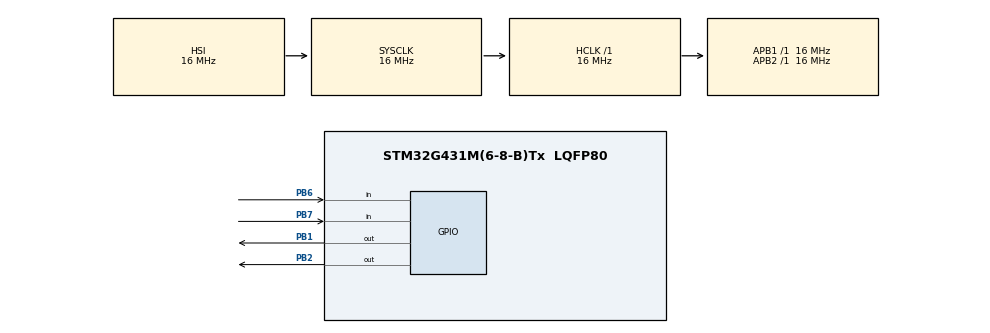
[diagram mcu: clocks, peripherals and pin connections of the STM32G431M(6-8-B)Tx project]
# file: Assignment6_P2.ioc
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Mcu.Family=STM32G4
Mcu.Name=STM32G431M(6-8-B)Tx
Mcu.Package=LQFP80
NVIC.PriorityGroup=NVIC_PRIORITYGROUP_4
PA13.Mode=Serial_Wire
PA13.Signal=SYS_JTMS-SWDIO
PA14.Mode=Serial_Wire
PA14.Signal=SYS_JTCK-SWCLK
PB1.PinState=GPIO_PIN_SET
PB1.Signal=GPIO_Output
PB2.PinState=GPIO_PIN_SET
PB2.Signal=GPIO_Output
PB6.GPIO_PuPd=GPIO_PULLUP
PB6.Signal=GPIO_Input
PB7.GPIO_Mode=GPIO_MODE_INPUT
PB7.GPIO_PuPd=GPIO_PULLUP
PB7.Signal=GPIO_Input
ProjectManager.HeapSize=0x200
ProjectManager.StackSize=0x400
ProjectManager.TargetToolchain=STM32CubeIDE
RCC.AHBFreq_Value=16000000
RCC.APB1Freq_Value=16000000
RCC.APB1TimFreq_Value=16000000
RCC.APB2Freq_Value=16000000
RCC.APB2TimFreq_Value=16000000
RCC.CortexFreq_Value=16000000
RCC.EXTERNAL_CLOCK_VALUE=12288000
RCC.HCLKFreq_Value=16000000
RCC.HSE_VALUE=8000000
RCC.HSI48_VALUE=48000000
RCC.HSI_VALUE=16000000
RCC.LSE_VALUE=32768
RCC.SYSCLKFreq_VALUE=16000000
RCC.USBFreq_Value=64000000
RCC.VCOOutputFreq_Value=128000000
VP_SYS_VS_DBSignals.Mode=DisableDeadBatterySignals
board=custom

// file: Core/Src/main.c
/* USER CODE BEGIN Header */
/**
  ******************************************************************************
  * @file           : main.c
  * @brief          : Main program body
  ******************************************************************************
  * @attention
  *
  * Copyright (c) 2025 STMicroelectronics.
  * All rights reserved.
  *
  * This software is licensed under terms that can be found in the LICENSE file
  * in the root directory of this software component.
  * If no LICENSE file comes with this software, it is provided AS-IS.
  *
  ******************************************************************************
  */
/* USER CODE END Header */
#include "main.h"

void SystemClock_Config(void);
static void MX_GPIO_Init(void);

int main(void)
{

  /* MCU Configuration--------------------------------------------------------*/

  /* Reset of all peripherals, Initializes the Flash interface and the Systick. */
  HAL_Init();

  /* Configure the system clock */
  SystemClock_Config();

  /* Initialize all configured peripherals */
  MX_GPIO_Init();
  /* USER CODE BEGIN 2 */

  //variable to store button pressed 1 or 2
  uint8_t key_state;

  /* USER CODE END 2 */

  /* Infinite loop */
  /* USER CODE BEGIN WHILE */
  while (1)
  {
	  //long press buttons

	 //checks if button 1 is pressed and assign 1 to Key state
	  if(HAL_GPIO_ReadPin(GPIOB, GPIO_PIN_7) == 0){
		  key_state = 1;

	  }

	  //checks if button 2 is pressed and assign 2 to Key state
	  else if (HAL_GPIO_ReadPin(GPIOB, GPIO_PIN_6) == 0 ){
		  key_state = 2;
	  }

	  //Toggling led based on button pressed using switch
	  switch (key_state){

	  //if button 1 is pressed, toggles both led with 1 sec delay
	  case 1:
	  		 HAL_GPIO_TogglePin(GPIOB, GPIO_PIN_1 | GPIO_PIN_2);
	  		 HAL_Delay(1000);
	  		 break;

	  //if button 2 is pressed, toggles both led with 0.5 sec delay
	  case 2:
	  		 HAL_GPIO_TogglePin(GPIOB, GPIO_PIN_1 | GPIO_PIN_2);
	  		 HAL_Delay(500);
	  		 break;

	  default:
		  break;
	  }

    /* USER CODE END WHILE */

  }
}

void SystemClock_Config(void)
{
  RCC_OscInitTypeDef RCC_OscInitStruct = {0};
  RCC_ClkInitTypeDef RCC_ClkInitStruct = {0};

  /** Configure the main internal regulator output voltage
  */
  HAL_PWREx_ControlVoltageScaling(PWR_REGULATOR_VOLTAGE_SCALE1);

  /** Initializes the RCC Oscillators according to the specified parameters
  * in the RCC_OscInitTypeDef structure.
  */
  RCC_OscInitStruct.OscillatorType = RCC_OSCILLATORTYPE_HSI;
  RCC_OscInitStruct.HSIState = RCC_HSI_ON;
  RCC_OscInitStruct.HSICalibrationValue = RCC_HSICALIBRATION_DEFAULT;
  RCC_OscInitStruct.PLL.PLLState = RCC_PLL_NONE;
  if (HAL_RCC_OscConfig(&RCC_OscInitStruct) != HAL_OK)
  {
    Error_Handler();
  }

  /** Initializes the CPU, AHB and APB buses clocks
  */
  RCC_ClkInitStruct.ClockType = RCC_CLOCKTYPE_HCLK|RCC_CLOCKTYPE_SYSCLK
                              |RCC_CLOCKTYPE_PCLK1|RCC_CLOCKTYPE_PCLK2;
  RCC_ClkInitStruct.SYSCLKSource = RCC_SYSCLKSOURCE_HSI;
  RCC_ClkInitStruct.AHBCLKDivider = RCC_SYSCLK_DIV1;
  RCC_ClkInitStruct.APB1CLKDivider = RCC_HCLK_DIV1;
  RCC_ClkInitStruct.APB2CLKDivider = RCC_HCLK_DIV1;

  if (HAL_RCC_ClockConfig(&RCC_ClkInitStruct, FLASH_LATENCY_0) != HAL_OK)
  {
    Error_Handler();
  }
}

static void MX_GPIO_Init(void)
{
  GPIO_InitTypeDef GPIO_InitStruct = {0};

  /* GPIO Ports Clock Enable */
  __HAL_RCC_GPIOB_CLK_ENABLE();
  __HAL_RCC_GPIOA_CLK_ENABLE();

  /*Configure GPIO pin Output Level */
  HAL_GPIO_WritePin(GPIOB, GPIO_PIN_1|GPIO_PIN_2, GPIO_PIN_SET);

  /*Configure GPIO pins : PB1 PB2 */
  GPIO_InitStruct.Pin = GPIO_PIN_1|GPIO_PIN_2;
  GPIO_InitStruct.Mode = GPIO_MODE_OUTPUT_PP;
  GPIO_InitStruct.Pull = GPIO_NOPULL;
  GPIO_InitStruct.Speed = GPIO_SPEED_FREQ_LOW;
  HAL_GPIO_Init(GPIOB, &GPIO_InitStruct);

  /*Configure GPIO pins : PB6 PB7 */
  GPIO_InitStruct.Pin = GPIO_PIN_6|GPIO_PIN_7;
  GPIO_InitStruct.Mode = GPIO_MODE_INPUT;
  GPIO_InitStruct.Pull = GPIO_PULLUP;
  HAL_GPIO_Init(GPIOB, &GPIO_InitStruct);

}

void Error_Handler(void)
{
  __disable_irq();
  while (1)
  {
  }
}
